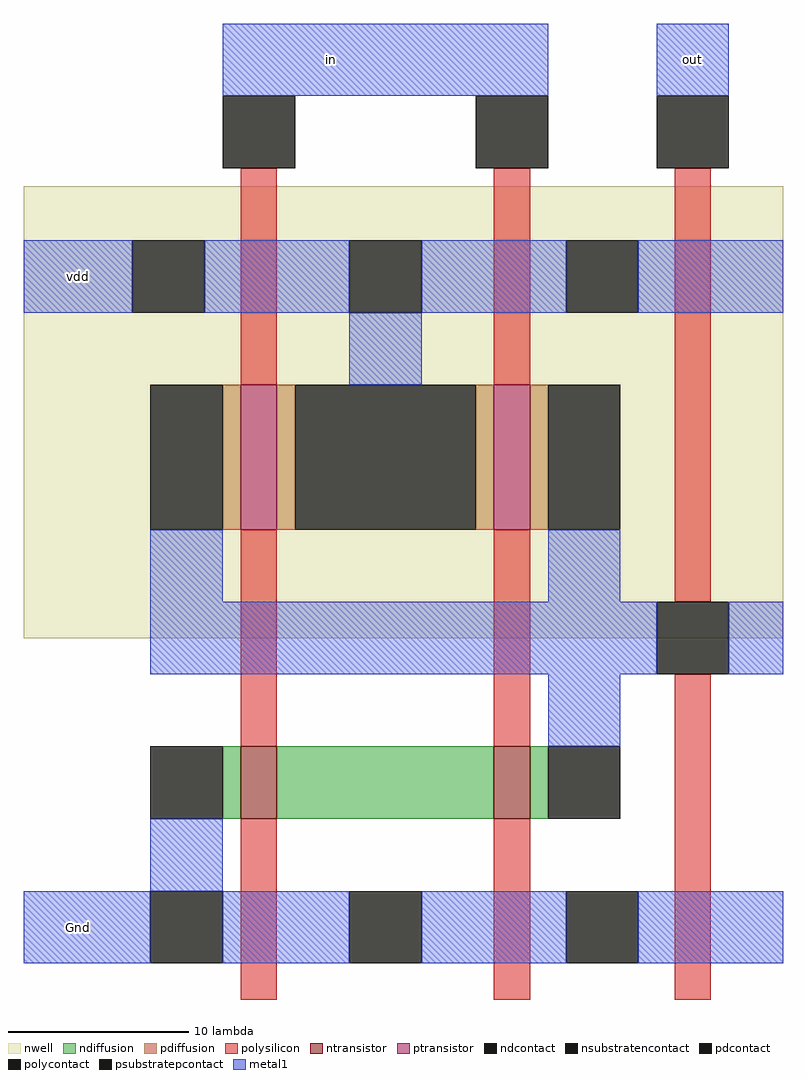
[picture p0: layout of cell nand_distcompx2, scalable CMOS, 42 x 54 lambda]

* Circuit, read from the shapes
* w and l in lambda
.subckt nand_distcompx2 Gnd in out vdd
M1 n1 in Gnd Gnd nfet w=4 l=2
M2 out in n1 Gnd nfet w=4 l=2
M3 vdd in out vdd pfet w=8 l=2 m=2
.ends

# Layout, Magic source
magic
tech scmos
<< nwell >>
rect -18 1 24 26
<< ntransistor >>
rect -6 -9 -4 -5
rect 8 -9 10 -5
<< ptransistor >>
rect -6 7 -4 15
rect 8 7 10 15
<< ndiffusion >>
rect -7 -9 -6 -5
rect -4 -9 8 -5
rect 10 -9 11 -5
<< pdiffusion >>
rect -7 7 -6 15
rect -4 7 -3 15
rect 7 7 8 15
rect 10 7 11 15
<< ndcontact >>
rect -11 -9 -7 -5
rect 11 -9 15 -5
<< pdcontact >>
rect -11 7 -7 15
rect -3 7 7 15
rect 11 7 15 15
<< psubstratepcontact >>
rect -11 -17 -7 -13
rect 0 -17 4 -13
rect 12 -17 16 -13
<< nsubstratencontact >>
rect -12 19 -8 23
rect 0 19 4 23
rect 12 19 16 23
<< polysilicon >>
rect -6 15 -4 27
rect 8 15 10 27
rect -6 -5 -4 7
rect 8 -5 10 7
rect 18 3 20 27
rect -6 -19 -4 -9
rect 8 -19 10 -9
rect 18 -19 20 -1
<< polycontact >>
rect -7 27 -3 31
rect 7 27 11 31
rect 17 27 21 31
rect 17 -1 21 3
<< metal1 >>
rect -7 31 11 35
rect 17 31 21 35
rect -18 19 -12 23
rect -8 19 0 23
rect 4 19 12 23
rect 16 19 24 23
rect 0 15 4 19
rect -11 3 -7 7
rect 11 3 15 7
rect -11 -1 17 3
rect 21 -1 24 3
rect 11 -5 15 -1
rect -11 -13 -7 -9
rect -18 -17 -11 -13
rect -7 -17 0 -13
rect 4 -17 12 -13
rect 16 -17 24 -13
<< labels >>
rlabel metal1 -3 31 1 35 5 in
rlabel metal1 -17 -17 -13 -13 2 Gnd
rlabel metal1 17 31 21 35 6 out
rlabel metal1 -17 19 -13 23 3 vdd
<< end >>
